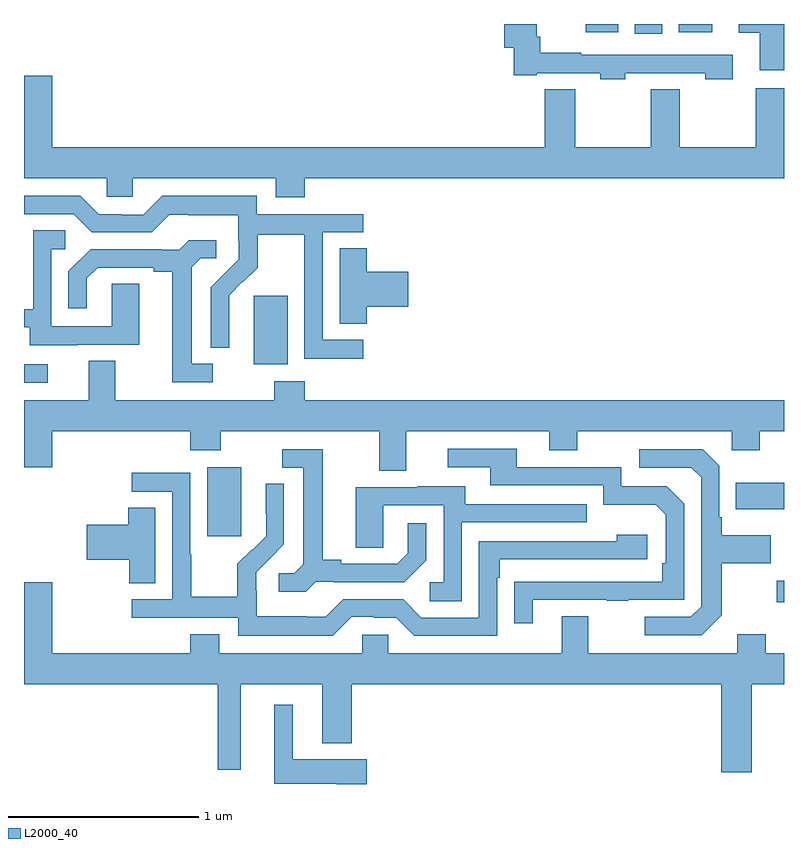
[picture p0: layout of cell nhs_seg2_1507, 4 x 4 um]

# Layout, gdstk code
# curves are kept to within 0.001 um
import gdstk
lib = gdstk.Library(unit=1e-6, precision=1e-09)
def R(c, l, rs):  # rectangles x0, y0, x1, y1
    for r in rs: c.add(gdstk.rectangle(r[:2], r[2:], *l))
def P(c, l, *ps):  # polygons
    for p in ps: c.add(gdstk.Polygon(p, *l))
L2000_40 = (2000, 40)

nhs_seg2_1507 = lib.new_cell('nhs_seg2_1507')
R(nhs_seg2_1507, L2000_40, [(192.963,626.757,193,626.87), (189.965,627.105,190.144,627.466), (192.745,627.245,193,627.385), (189,627.912,189.124,628.008), (190.208,628.01,190.387,628.371), (192.215,629.748,192.358,629.8), (191.957,629.756,192.127,629.8), (192.446,629.756,192.622,629.8)])
P(nhs_seg2_1507, L2000_40, [(193,629.8),(192.761,629.8),(192.761,629.753),(192.872,629.753),(192.872,629.556),(193,629.556)],
  [(192.165,629.541),(192.585,629.541),(192.585,629.509),(192.73,629.509),(192.73,629.637),(191.933,629.637),(191.933,629.65),(191.716,629.65),(191.716,629.734),(191.698,629.734),(191.698,629.8),(191.528,629.8),(191.528,629.675),(191.577,629.675),(191.577,629.529),(191.698,629.529),(191.698,629.541),(192.033,629.541),(192.033,629.509),(192.165,629.509)],
  [(190.478,628.988),(193,628.988),(193,629.461),(192.85,629.461),(192.85,629.152),(192.452,629.152),(192.452,629.456),(192.298,629.456),(192.298,629.152),(191.9,629.152),(191.9,629.456),(191.741,629.456),(191.741,629.152),(189.148,629.152),(189.148,629.527),(189,629.527),(189,628.988),(189.435,628.988),(189.435,628.89),(189.573,628.89),(189.573,628.988),(190.325,628.988),(190.325,628.889),(190.478,628.889)],
  [(190.786,628.137),(190.572,628.137),(190.572,628.704),(190.786,628.704),(190.786,628.8),(190.224,628.8),(190.224,628.897),(189.727,628.897),(189.627,628.797),(189.512,628.797),(189.512,628.8),(189.393,628.8),(189.297,628.896),(189,628.896),(189,628.8),(189.261,628.8),(189.357,628.704),(189.672,628.704),(189.765,628.797),(189.865,628.797),(189.865,628.793),(190.128,628.793),(190.128,628.659),(190.13,628.659),(190.13,628.562),(189.984,628.414),(189.984,628.096),(190.08,628.096),(190.079,628.373),(190.149,628.443),(190.152,628.44),(190.229,628.517),(190.229,628.692),(190.474,628.692),(190.474,628.468),(190.476,628.468),(190.476,628.039),(190.786,628.039)],
  [(189.283,628.113),(189.607,628.113),(189.607,628.433),(189.462,628.433),(189.462,628.209),(189.144,628.209),(189.144,628.614),(189.217,628.614),(189.217,628.715),(189.048,628.715),(189.048,628.299),(189,628.299),(189,628.203),(189.029,628.203),(189.029,628.109),(189.283,628.109)],
  [(189.994,628.011),(189.883,628.011),(189.883,628.519),(189.93,628.566),(190.012,628.566),(190.012,628.663),(189.868,628.663),(189.816,628.611),(189.722,628.611),(189.722,628.614),(189.35,628.614),(189.234,628.498),(189.234,628.305),(189.331,628.305),(189.331,628.461),(189.388,628.518),(189.683,628.518),(189.683,628.496),(189.779,628.496),(189.779,627.915),(189.994,627.915)],
  [(190.805,628.313),(191.023,628.313),(191.023,628.496),(190.805,628.496),(190.805,628.619),(190.661,628.619),(190.661,628.222),(190.805,628.222)],
  [(191.011,627.656),(191.765,627.656),(191.765,627.557),(191.913,627.557),(191.913,627.656),(192.726,627.656),(192.726,627.557),(192.873,627.557),(192.873,627.656),(193,627.656),(193,627.82),(190.478,627.82),(190.478,627.919),(190.318,627.919),(190.318,627.82),(189.481,627.82),(189.481,628.028),(189.341,628.028),(189.341,627.82),(189,627.82),(189,627.468),(189.148,627.468),(189.148,627.656),(189.875,627.656),(189.875,627.557),(190.035,627.557),(190.035,627.656),(190.871,627.656),(190.871,627.448),(191.011,627.448)],
  [(191.677,626.769),(192.067,626.769),(192.067,626.764),(192.179,626.764),(192.179,626.769),(192.474,626.769),(192.474,627.276),(192.384,627.366),(192.144,627.366),(192.144,627.468),(191.593,627.468),(191.593,627.564),(191.229,627.564),(191.229,627.468),(191.453,627.468),(191.453,627.372),(192.048,627.372),(192.048,627.269),(192.325,627.269),(192.378,627.216),(192.378,626.962),(192.358,626.962),(192.358,626.865),(191.581,626.864),(191.581,626.646),(191.677,626.646)],
  [(192.673,626.689),(192.673,626.962),(192.929,626.962),(192.929,627.109),(192.673,627.109),(192.673,627.205),(192.66,627.205),(192.66,627.474),(192.573,627.561),(192.237,627.561),(192.237,627.465),(192.513,627.465),(192.564,627.414),(192.564,626.733),(192.51,626.679),(192.267,626.679),(192.267,626.583),(192.567,626.583)],
  [(190.536,626.865),(190.63,626.865),(190.63,626.862),(191.002,626.862),(191.118,626.978),(191.118,627.172),(191.021,627.172),(191.021,627.015),(190.964,626.958),(190.669,626.958),(190.669,626.981),(190.573,626.981),(190.573,627.561),(190.359,627.561),(190.359,627.465),(190.469,627.465),(190.469,626.957),(190.422,626.91),(190.341,626.91),(190.341,626.813),(190.484,626.813)],
  [(190.725,626.679),(190.841,626.679),(190.841,626.676),(190.959,626.676),(191.055,626.58),(191.49,626.58),(191.49,626.885),(191.503,626.885),(191.503,626.982),(192.28,626.982),(192.28,627.112),(192.119,627.112),(192.119,627.078),(191.394,627.078),(191.394,626.676),(191.091,626.676),(190.995,626.772),(190.68,626.772),(190.587,626.679),(190.487,626.679),(190.487,626.683),(190.224,626.683),(190.224,626.817),(190.222,626.817),(190.222,626.914),(190.368,627.062),(190.368,627.38),(190.272,627.38),(190.272,627.226),(190.274,627.226),(190.274,627.104),(190.203,627.033),(190.2,627.036),(190.123,626.959),(190.123,626.785),(189.879,626.785),(189.879,627.008),(189.876,627.008),(189.876,627.438),(189.567,627.438),(189.567,627.339),(189.78,627.339),(189.78,626.772),(189.567,626.772),(189.567,626.676),(190.128,626.676),(190.128,626.579),(190.625,626.579)],
  [(191.304,627.177),(191.963,627.177),(191.963,627.273),(191.323,627.273),(191.323,627.367),(191.069,627.367),(191.069,627.363),(190.745,627.363),(190.745,627.043),(190.89,627.043),(190.89,627.267),(191.208,627.267),(191.208,626.862),(191.136,626.862),(191.136,626.761),(191.304,626.761)],
  [(189.691,627.254),(189.548,627.254),(189.548,627.164),(189.33,627.164),(189.33,626.981),(189.553,626.981),(189.553,626.857),(189.691,626.857)],
  [(191.971,626.683),(191.831,626.683),(191.831,626.488),(190.917,626.488),(190.917,626.586),(190.779,626.586),(190.779,626.488),(190.027,626.488),(190.027,626.587),(189.875,626.587),(189.875,626.488),(189.148,626.488),(189.148,626.863),(189,626.863),(189,626.324),(190.02,626.324),(190.02,625.875),(190.141,625.875),(190.141,626.324),(190.571,626.324),(190.571,626.015),(190.724,626.015),(190.724,626.324),(192.671,626.324),(192.671,625.863),(192.831,625.863),(192.831,626.324),(193,626.324),(193,626.488),(192.903,626.488),(192.903,626.587),(192.755,626.587),(192.755,626.488),(191.971,626.488)],
  [(190.805,625.93),(190.414,625.93),(190.414,626.218),(190.316,626.218),(190.316,625.802),(190.646,625.802),(190.646,625.8),(190.805,625.8)])

lib.write_gds('nhs_seg2_1507.gds')
